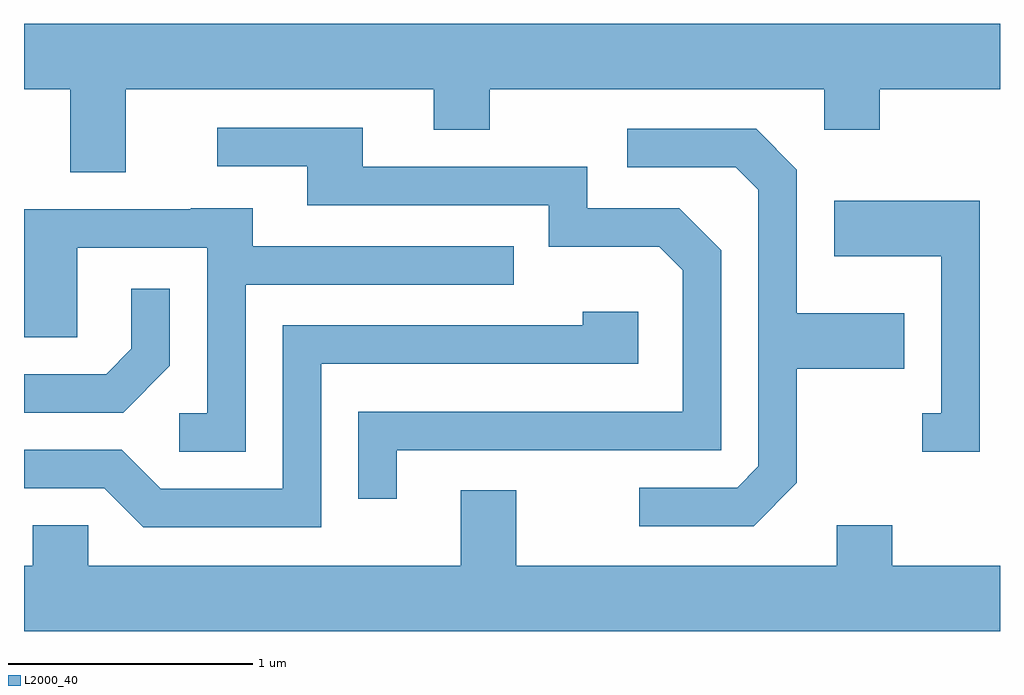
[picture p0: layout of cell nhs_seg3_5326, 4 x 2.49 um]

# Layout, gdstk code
import gdstk
lib = gdstk.Library(unit=1e-6, precision=1e-09)
def P(c, l, *ps):  # polygons
    for p in ps: c.add(gdstk.Polygon(p, *l))
L2000_40 = (2000, 40)

nhs_seg3_5326 = lib.new_cell('nhs_seg3_5326')
P(nhs_seg3_5326, L2000_40, [(342.029,1170.416),(343.291,1170.416),(343.291,1170.251),(343.519,1170.251),(343.519,1170.416),(344.891,1170.416),(344.891,1170.251),(345.119,1170.251),(345.119,1170.416),(345.611,1170.416),(345.611,1170.684),(341.611,1170.684),(341.611,1170.416),(341.801,1170.416),(341.801,1170.076),(342.029,1170.076)],
  [(343.139,1168.936),(344.469,1168.936),(344.469,1169.757),(344.297,1169.929),(343.919,1169.929),(343.919,1170.099),(342.999,1170.099),(342.999,1170.259),(342.403,1170.259),(342.403,1170.101),(342.771,1170.101),(342.771,1169.941),(343.761,1169.941),(343.761,1169.771),(344.214,1169.771),(344.311,1169.674),(344.311,1169.094),(342.981,1169.094),(342.981,1168.738),(343.139,1168.738)],
  [(344.779,1168.804),(344.779,1169.271),(345.219,1169.271),(345.219,1169.499),(344.779,1169.499),(344.779,1170.087),(344.612,1170.254),(344.083,1170.254),(344.083,1170.096),(344.529,1170.096),(344.621,1170.004),(344.621,1168.872),(344.534,1168.784),(344.133,1168.784),(344.133,1168.626),(344.602,1168.626)],
  [(345.529,1169.959),(344.931,1169.959),(344.931,1169.731),(345.371,1169.731),(345.371,1169.089),(345.293,1169.089),(345.293,1168.931),(345.529,1168.931)],
  [(342.519,1169.616),(343.618,1169.616),(343.618,1169.774),(342.549,1169.774),(342.549,1169.929),(342.295,1169.929),(342.295,1169.924),(341.611,1169.924),(341.611,1169.401),(341.829,1169.401),(341.829,1169.766),(342.361,1169.766),(342.361,1169.089),(342.248,1169.089),(342.248,1168.931),(342.519,1168.931)],
  [(342.209,1169.284),(342.209,1169.598),(342.051,1169.598),(342.051,1169.352),(341.949,1169.249),(341.611,1169.249),(341.611,1169.091),(342.017,1169.091)],
  [(342.829,1169.291),(344.129,1169.291),(344.129,1169.504),(343.901,1169.504),(343.901,1169.449),(342.671,1169.449),(342.671,1168.779),(342.172,1168.779),(342.012,1168.939),(341.611,1168.939),(341.611,1168.781),(341.939,1168.781),(342.099,1168.621),(342.829,1168.621)],
  [(345.611,1168.464),(345.169,1168.464),(345.169,1168.629),(344.941,1168.629),(344.941,1168.464),(343.629,1168.464),(343.629,1168.774),(343.401,1168.774),(343.401,1168.464),(341.874,1168.464),(341.874,1168.629),(341.646,1168.629),(341.646,1168.464),(341.611,1168.464),(341.611,1168.196),(345.611,1168.196)])

lib.write_gds('nhs_seg3_5326.gds')
